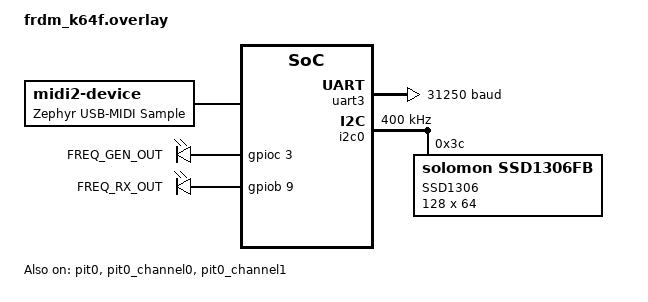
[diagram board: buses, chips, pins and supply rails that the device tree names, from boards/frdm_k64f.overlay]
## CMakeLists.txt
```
# @file CMakeLists.txt for MIDI1.0 driver app 
#
# @author Jan-Willem Smaal <usenet@gispen.org> 
# @date 20260119 
# SPDX-License-Identifier: Apache-2.0
cmake_minimum_required(VERSION 3.20.0)
find_package(Zephyr REQUIRED HINTS $ENV{ZEPHYR_BASE})
project(midi1_serial)

# for the USB MIDI sources
include(common/common.cmake)

# Application logic 
FILE(GLOB app_sources src/*.c)

# Hardware and driver logic 
FILE(GLOB driver_sources drivers/*.c)

target_include_directories(app PRIVATE
	drivers
)

target_sources(app PRIVATE 
	${app_sources}
	${driver_sources}
)
```

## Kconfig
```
# Copyright (c) 2024 Titouan Christophe
# SPDX-License-Identifier: Apache-2.0

# Source common USB sample options used to initialize new experimental USB
# device stack. The scope of these options is limited to USB samples in project
# tree, you cannot use them in your own application.
#source "common/Kconfig.sample_usbd"

source "Kconfig.zephyr"
# Copyright (c) 2023 Nordic Semiconductor ASA
# SPDX-License-Identifier: Apache-2.0

# This file contains Kconfig options and defaults for configuring USB devices
# using the new experimental USB device support. The scope of these options is
# limited to USB samples in project tree, you cannot use them in your own
# application.

menu "USB sample options"
	depends on USB_DEVICE_STACK_NEXT

config SAMPLE_USBD_MANUFACTURER
	string "USB device sample manufacturer string"
	default "Jan-Willem Smaal"
	help
	  USB device sample manufacturer string.

config SAMPLE_USBD_PRODUCT
	string "USB device sample product string"
	default "USBD"
	help
	  USB device sample product stringa.

config SAMPLE_USBD_PID
	hex "USB device sample Product ID"
	default 0x0011
	help
	  USB device sample Product ID.

config SAMPLE_USBD_SELF_POWERED
	bool "USB device sample Self-powered attribute"
	default y
	help
	  Set the Self-powered attribute in the sample configuration.

config SAMPLE_USBD_REMOTE_WAKEUP
	bool "USB device sample Remote Wakeup attribute"
	help
	  Set the Remote Wakeup attribute in the sample configuration.

config SAMPLE_USBD_MAX_POWER
	int "USB device sample bMaxPower value"
	default 125
	range 0 250
	help
	  bMaxPower value in the sample configuration in 2 mA units.

config SAMPLE_USBD_20_EXTENSION_DESC
	bool "Use default USB 2.0 Extension Descriptor"
	depends on USBD_BOS_SUPPORT
	help
	  Set bcdUSB value to 0201 and use default USB 2.0 Extension Descriptor.

endmenu
```

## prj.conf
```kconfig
##########################################################################
# @file prj.conf
# @brief Various MIDI protocol test with the Zephyr SDK
# @note
# adding in some MIDI1 legacy DIN5 serial.  
#
# Code is based on the original midi-usb sample
#
# @author Jan-Willem Smaal <usenet@gispen.org
# @date 20251220
##########################################################################
CONFIG_INPUT=n
CONFIG_LOG=n
#CONFIG_LOG_DEFAULT_LEVEL=2


##########################################################################
# Tune these settings to reduce the RAM footprint
##########################################################################
CONFIG_IDLE_STACK_SIZE=128
CONFIG_ISR_STACK_SIZE=1024
# Note this one is under the display and cannot be reduced 
#CONFIG_HEAP_MEM_POOL_SIZE=1536


# Let's disable the boot banner because 
# on the FRDM_MCXC242 overlay we use it will go out 
# the MIDI port...  
CONFIG_BOOT_BANNER=n

# Serial port support with IRQ on RX.
CONFIG_SERIAL=y
CONFIG_UART_INTERRUPT_DRIVEN=y
# Our customer MIDI1 serial driver
CONFIG_MIDI1_SERIAL=y

##########################################################################
# Sensors (maybe later) 
##########################################################################
CONFIG_SENSOR=n
CONFIG_SENSOR_SHELL=n
CONFIG_SENSOR_INFO=n
#CONFIG_VL53L0X_PROXIMITY_THRESHOLD=100
CONFIG_SHT4X=n
CONFIG_FXOS8700=n

##########################################################################
# Counters (required) 
##########################################################################
CONFIG_COUNTER=y
# For the FRDM_MCXC242 and FRDM_K64F 
CONFIG_COUNTER_NXP_PIT=y
# For the FRDM_MCXA156 board.
CONFIG_COUNTER_MCUX_CTIMER=y 


# GPIO (used for the scope measurements) 
CONFIG_GPIO=y

# Math stuff, try to leave it out because it doesn't fit in the RAM. 
CONFIG_NEWLIB_LIBC=n
CONFIG_NEWLIB_LIBC_FLOAT_PRINTF=n
CONFIG_NEWLIB_LIBC_FLOAT_SCANF=n

##########################################################################
# Configure I2C displays 
##########################################################################
CONFIG_DISPLAY=y
# For the board FRDM_MCXC242 I use this display SSD1306 
CONFIG_SSD1306=y
# If we use the board FRDM_MCXA156 we use a SSD1331
CONFIG_SSD1331=n
CONFIG_DISPLAY_LOG_LEVEL_DBG=y


# Enable Character Framebuffer (text rendering)
# on the FRDM_MCXC242 this will work with the SDD1306 display 
CONFIG_HEAP_MEM_POOL_SIZE=1280  

# trying with the FRDM_MCXA156 we use the SDD1331 display 
# this board has more RAM so let's assign a bit more. 
#CONFIG_HEAP_MEM_POOL_SIZE=2280  

CONFIG_CHARACTER_FRAMEBUFFER=y
CONFIG_CHARACTER_FRAMEBUFFER_USE_DEFAULT_FONTS=y


##########################################################################
# USBD MIDI2.0 device support
##########################################################################
CONFIG_USB_DEVICE_STACK_NEXT=y
CONFIG_CDC_ACM_SERIAL_INITIALIZE_AT_BOOT=n
CONFIG_USBD_MIDI2_CLASS=y
CONFIG_SAMPLE_USBD_PRODUCT="USB MIDI2.0 J-W Smaal"
CONFIG_SAMPLE_USBD_PID=0x0011
CONFIG_USBD_LOG_LEVEL_WRN=n
CONFIG_UDC_DRIVER_LOG_LEVEL_WRN=n
CONFIG_MIDI2_UMP_STREAM_RESPONDER=y

# EOF 
```

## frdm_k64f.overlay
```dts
/*
 * Overlay for FRDM-K64F with 
 * MIDI (USART) board.  
 * 
 * Original: 
 * Copyright (c) 2024 Titouan Christophe
 *
 * SPDX-License-Identifier: Apache-2.0
 */
&uart3 {
    status = "okay";
    /* Set it to the MIDI baud rate */
    current-speed = <31250>;
};


/ {
	usb_midi: usb_midi {
		compatible = "zephyr,midi2-device";
		status = "okay";
		label = "Zephyr USB-MIDI Sample";

		midi_in_out@0 {
			reg = <0 1>;
			protocol = "midi1-up-to-128b";
			label = "MIDI-IN-OUT";
		};
	};
    aliases {
        i2c0 = &i2c0;
		/* This is the serial USART midi */ 
        midi = &uart3;
    };
};
```

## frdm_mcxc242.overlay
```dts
/*
 * Test with the FRDM-MCXW242 board and the VL53L0X sensor
 * Overlay provided by Jan-Willem Smaal on 20250101
 */

&pit0 {
	status = "okay";
};

&i2c1 {
 	status = "okay";
	vl53l0x@29 {
		compatible = "st,vl53l0x";
		reg = <0x29>;
	};
};

/ {
	usb_midi: usb_midi {
		compatible = "zephyr,midi2-device";
		status = "okay";
		#address-cells = <1>;
		#size-cells = <1>;
		label = "Zephyr USB-MIDI Sample";

		midi_in_out@0 {
			reg = <0 1>;
			protocol = "midi1-up-to-128b";
			label = "MIDI-IN-OUT";
		};
	};
};
```

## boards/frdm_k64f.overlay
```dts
/**
 * @file frdm_k64f.overlay
 * @brief overlay for this (older) NXP board
 * @note
 * it is using a MIDI arduino shield but I disconnected
 * the 5V and connected it to 3.3V instead to protect the MCU inputs.
 * I should lower the output and input from 220R resistors to 33R but it
 * seems to "work" on some interfaces without that in some shape or form.
 *
 * @author Jan-Willem Smaal <usenet@gispen.org>
 * @date 20260102
 * SPDX-License-Identifier: Apache-2.0
 */

/*
 * Classic MIDI1.0 over DIN5 plug
 */
&uart3 {
    status = "okay";
    /* Set it to the MIDI baud rate */
    current-speed = <31250>;
};

/* 
 * Because on the FRDM_K64F each channel has it's own IRQ we need to be 
 * specific here can't just enable pit0 and hope for the best. 
 */ 
&pit0 {
    status = "okay";
};

&pit0_channel0 {
    status = "okay";
};

&pit0_channel1 {
    status = "okay";
};

/*
 * Enable these GPIO's' for the scope outputs I use this to
 * measure the clock sync on ingress and egress.
 */
&gpiob {
    status = "okay";
};

&gpioc {
    status = "okay";
};

&i2c0 {
	status = "okay";
	clock-frequency = <I2C_BITRATE_FAST>;

	ssd1306: ssd1306@3c {
		status = "okay";
		compatible = "solomon,ssd1306fb";
		reg = <0x3c>;
		label = "SSD1306";
		width = <128>;
		height = <64>;
		segment-offset = <0>; 
		page-offset = <0>;
		display-offset = <0>;
		multiplex-ratio = <63>;
		/* Had to enable this to mirror the image */ 
		com-invdir;
		/* prechargep = <0x22>; */
		/* Used for the SH1106 */
		/* prechargep = <0x1F>; */
		/* Used for the SSD1306 */
		prechargep = <0xF1>;
		/* The next one was required to flip the image */
		segment-remap;
	        inversion-on;
	        /* Critical part on the SSD1306 don't make this too long */
	        ready-time-ms = <100>;
	};
};



/ {
	usb_midi: usb_midi {
		compatible = "zephyr,midi2-device";
		status = "okay";
		#address-cells = <1>;
		#size-cells = <1>;
		label = "Zephyr USB-MIDI Sample";

		midi_in_out@0 {
			reg = <0 1>;
			protocol = "midi1-up-to-128b";
			label = "MIDI-IN-OUT";
		};
	};
	leds {
		compatible = "gpio-leds";
		/* Everytime a 0xF8 is sent we toggle pin PTC3  */
		freq_out: freq_out {
			gpios = <&gpioc 3 GPIO_ACTIVE_HIGH>;
			label = "FREQ_GEN_OUT";
		};
		/* Everytime a 0xF8 is received we toggle pin PTB9  */
		rx_midi_clk: rx_midi_clk{
			gpios = <&gpiob 9 GPIO_ACTIVE_HIGH>;
			label = "FREQ_RX_OUT";
		};
	};
    aliases {
        i2c0 = &i2c0;
        midi = &uart3;
	counterch0 = &pit0_channel0;
	counterch1 = &pit0_channel1;
    };
    chosen {
	zephyr,display = &ssd1306;
    };
};


/* EOF */
```

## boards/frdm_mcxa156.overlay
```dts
/**
 * @file frdm_k64f.overlay
 * @brief overlay for this board from 2024
 * @note
 *
 * Using the MCXA156 the mikroBUS socket is used for lpuart1.
 *
 * @author Jan-Willem Smaal <usenet@gispen.org>
 * @date 20260102
 * SPDX-License-Identifier: Apache-2.0
 */
&gpio3 {
	status ="okay"; 
};

/* Enable SPI on mikroBUS */
&lpspi0 {
    status = "okay";
    pinctrl-0 = <&pinmux_lpspi0>;
    pinctrl-names = "default";
};


/*
 * Classic MIDI1.0 over DIN5 plug.
 * note on the FRDM-MCXC242 the LPUART0 is shared with the MCU_LINK.
 * so be aware!   If you send printk's you need to set the baud rate
 * to 31250 from the default 115200 to see something usefull
 *
 * Also note anything you send out to the MCU_LINK will end up on the MIDI
 * port!
 *
 */
/* On the MCXA156 the mikroBUS socket J1 is on LPUART1 */
&lpuart1 {
	status = "okay";
	/* Set it to the MIDI baud rate */
	current-speed = <31250>;
};

/* We are using the periodic interrupt timer  (PIT) so switch it on */
/* DOES NOT EXIST on this board */
/*
&pit0 {
	status = "okay";
};
*/

/* Let's make sure both are enabled and act in the same way as the pit0 */
&ctimer0 {
	status = "okay";
	/* Divide 96 MHz by 4 → 24 MHz timer */
	prescale = <3>;
};
&ctimer1 {
	status = "okay";
	/* Divide 96 MHz by 4 → 24 MHz timer */
	prescale = <3>;
};

/*****************************************************************************/

/ {
	chosen {
		zephyr,display = &sdd1331_mikrobus;
};
	usb_midi: usb_midi {
		compatible = "zephyr,midi2-device";
		status = "okay";
		#address-cells = <1>;
		#size-cells = <1>;
		label = "Zephyr USB-MIDI";

		midi_in_out@0 {
			reg = <0 1>;
			protocol = "midi1-up-to-128b";
			label = "MIDI-IN-OUT";
		};
	};
	leds {
		/* Need to check pin numbers  !!! */
		compatible = "gpio-leds";
		/* Everytime a 0xF8 is sent we toggle pin C8  */
		freq_out: freq_out {
			/* gpios = <&gpioc 8 GPIO_ACTIVE_HIGH>; */
			gpios = <&gpio3 1 GPIO_ACTIVE_HIGH>;
			label = "FREQ_GEN_OUT";
		};
		/* Everytime a 0xF8 is received we toggle pin A12  */
		rx_midi_clk: rx_midi_clk{
			/* gpios = <&gpioa 12 GPIO_ACTIVE_HIGH>; */
			gpios = <&gpio3 31 GPIO_ACTIVE_HIGH>;
			label = "FREQ_RX_OUT";
		};
	};
	aliases {
		midi = &lpuart1;
		counterch0 = &ctimer0;
		counterch1 = &ctimer1;
	};
	
	/* The Display */
	mipi_dbi_sdd1331_mikrobus {
		status = "okay";
		compatible = "zephyr,mipi-dbi-spi";
		spi-dev = <&lpspi0>;
		write-only;
		#address-cells = <1>;
		#size-cells = <0>;

		/* mikroBUS GPIOs used for SPI */
		/* mikroBUS INT (pin 8) */
		dc-gpios = <&gpio3 19 GPIO_ACTIVE_HIGH>;
		/* mikroBUS RST (pin 6) */
		reset-gpios = <&gpio3 29 GPIO_ACTIVE_LOW>;

		/* Display selected via mikroBUS default CS  */
		sdd1331_mikrobus: sd1331@0 {
			status = "okay";
			compatible = "solomon,ssd1331";
			reg = <0>;
			mipi-max-frequency = <8000000>;
			width = <96>;
			height = <64>;
			mipi-mode = "MIPI_DBI_MODE_SPI_4WIRE";
			/* Default: 0 (no vertical shift) */
			display-offset = <0>;
			/* Default: 0 (start at first RAM line) */
			start-line = <0>;
			/* Default: height - 1 → 64 - 1 = 63 */
			multiplex-ratio = <63>;
			/* Default: Phase1=1, Phase2=3 → 0x31 */
			phase-length = <0x31>;
			/* Default: highest internal oscillator */
			oscillator-freq = <0xF0>;
			/* Default: 100 clocks */
			precharge-time-a = <0x64>;
			/* Default: 120 clocks */
			precharge-time-b = <0x78>;
			 /* Default: 100 clocks */
			precharge-time-c = <0x64>;
			/* Default: 0x3A (recommended) */
			precharge-voltage = <0x3A>;
			/* Default: 0x3E (recommended) */
			vcomh-voltage = <0x3E>;
			/* Default: max master current */
			current-att = <0x0F>;
			 /* Default: RGB565, normal scan, COM split */
			remap-value = <0x72>;
		};
	};
};
```

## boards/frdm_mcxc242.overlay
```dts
/*
 * @brief FRDM-MCXW242 board configuration for the MIDI clock
 * @note
 * it is using a MIDI arduino shield but I disconnected
 * the 5V and connected it to 3.3V instead to protect the MCU inputs.
 * I should lower the output and input from 220R resistors to 33R but it
 * seems to "work" on some interfaces without that in some shape or form.
 *
 * @author Jan-Willem Smaal
 * @date 20250101
 * SPDX-License-Identifier: Apache-2.0
 */
 
/*
 * Classic MIDI1.0 over DIN5 plug.
 * note on the FRDM-MCXC242 the LPUART0 is shared with the MCU_LINK.
 * so be aware!   If you send printk's you need to set the baud rate
 * to 31250 from the default 115200 to see something usefull
 *
 * Also note anything you send out to the MCU_LINK will end up on the MIDI
 * port!
 *
 */
&lpuart0 {
	status = "okay";
	/* Set it to the MIDI baud rate */
	current-speed = <31250>;
};

/* This one is on the MIKRObus and is not shared with the MCU_LINK. */
&lpuart1 {
	status = "okay";
	/* Set it to the MIDI baud rate */
	current-speed = <31250>;
};

&pinctrl {
	pinmux_lpuart0: pinmux_lpuart0 {
		group0 {
			/* Strongest drive + fast edges */
			drive-strength = "high";
			slew-rate = "fast";
		};
	};
	pinmux_lpuart1: pinmux_lpuart1 {
		group0 {
			/* Strongest drive + fast edges */
			drive-strength = "high";
			slew-rate = "fast";
		};
	};
};

/* We are using the periodic interrupt timer  (PIT) so switch it on */
&pit0 {
	status = "okay";
};

/*
 * Enable these GPIO's' for the scope outputs I use this to
 * measure the clock sync on ingress and egress.
 */
&gpioa {
	status = "okay";
};

&gpioc {
	status = "okay";
};

/*
 * i2c0 does not work due to missing pin control.  i2c1 is the the Arduino
 * header
 */
&i2c1 {
	status = "okay";
	clock-frequency = <I2C_BITRATE_FAST>;

	ssd1306: ssd1306@3c {
		status = "okay";
		compatible = "solomon,ssd1306fb";
		reg = <0x3c>;
		label = "SSD1306";
		width = <128>;
		height = <64>;
		segment-offset = <0>; 
		page-offset = <0>;
		display-offset = <0>;
		multiplex-ratio = <63>;
		/* Had to enable this to mirror the image */ 
		com-invdir;
		/* prechargep = <0x22>; */
		/* Used for the SH1106 */
		/* prechargep = <0x1F>; */
		/* Used for the SSD1306 */
		prechargep = <0xF1>;
		/* The next one was required to flip the image */
		segment-remap;
	        inversion-on;
	        /* Critical part on the SSD1306 don't make this too long */
	        ready-time-ms = <100>;
	};
};

/* ---------------------------------------------------------------- */

/ {
	midi0: midi0 {
		status = "okay";
		compatible = "midi1_serial";
		uart = <&lpuart0>;
	};
	midi1: midi1 {
		status = "okay";
		compatible = "midi1_serial";
		uart = <&lpuart1>;
	};
	usb_midi: usb_midi {
		compatible = "zephyr,midi2-device";
		status = "okay";
		#address-cells = <1>;
		#size-cells = <1>;
		label = "Zephyr USB-MIDI";

		midi_in_out@0 {
			reg = <0 1>;
			protocol = "midi1-up-to-128b";
			label = "MIDI-IN-OUT";
		};
	};
	leds {
		compatible = "gpio-leds";
		/* Everytime a 0xF8 is sent we toggle pin C8  */
		freq_out: freq_out {
			gpios = <&gpioc 8 GPIO_ACTIVE_HIGH>;
			label = "FREQ_GEN_OUT";
		};
		/* Everytime a 0xF8 is received we toggle pin A12  */
		rx_midi_clk: rx_midi_clk{
			gpios = <&gpioa 12 GPIO_ACTIVE_HIGH>;
			label = "FREQ_RX_OUT";
		};
	};
	aliases {
		midi = &lpuart0;
		counterch0 = &pit0_channel0;
		counterch1 = &pit0_channel1;
	};
	chosen {
                zephyr,display = &ssd1306; 
        };
};
```

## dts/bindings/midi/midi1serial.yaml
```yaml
description: MIDI1 UART-based MIDI driver
compatible: "midi1serial"

properties:
  uart:
    type: phandle
    required: true
    description: UART device used for MIDI I/O
```

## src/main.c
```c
/**
 * @brief MIDI 1.0 into Universal MIDI Packet over USB by J-W Smaal
 * to send MIDI1.0 encapsulated into UMP over USB. Doing various things
 * such as measure MIDI clock.
 * generate a stable MIDI clock send some control changes etc...
 *
 * @author Jan-Willem Smaal <usenet@gispen.org>
 * @date 20260107
 *
 * ---
 * Adapted Original: Sample application for USB MIDI 2.0 device class
 * @author Copyright (c) 2024 Titouan Christophe
 *
 * license SPDX-License-Identifier: Apache-2.0
 */
#include <stdio.h>
#include <zephyr/device.h>
#include <zephyr/drivers/gpio.h>
#include <zephyr/input/input.h>
#include <zephyr/kernel.h>
#include <zephyr/devicetree.h>
#include <zephyr/drivers/display.h>
#include <zephyr/display/cfb.h>
#include <zephyr/sys/printk.h>

/*
 * This is part of the MIDI2 library prj.conf
 * CONFIG_MIDI2_UMP_STREAM_RESPONDER=y
 * /zephyr/lib/midi2/ump_stream_responder.h
 * it gets linked in and is required for the USB MIDI support.
 */
#include <sample_usbd.h>
#include <zephyr/usb/class/usbd_midi2.h>
#include <ump_stream_responder.h>

/*
 * Collection of various functions for MIDI1
 * by Jan-Willem Smaal <usenet@gispen.org>
 */
/* Moved to ../drivers */
#include "midi1.h"
#include "midi1_serial.h"

#include "midi1_clock_counter.h"
/* #include "midi1_clock_adj.h" */
/* #include "midi1_clock_measure.h" */
#include "midi1_clock_measure_counter.h"
#include "midi1_clock_pll_ticks.h"

/* ------------------------------------------------------------------------- */

/*
 * Required device tree entries
 * - 'rx_midi_clk'
 * - 'freq_out'
 * - 'usb_midi'
 * - 'midi' == UART
 * - 'pit0_channel0'
 * - 'pit0_channel1'
 */

/* For debugging provide the received 24pqn MIDI clock on a pin */
#define RX_MIDI_CLOCK_ON_PIN 1
#if RX_MIDI_CLOCK_ON_PIN
#define RX_MIDI_CLK DT_NODELABEL(rx_midi_clk)
static const struct gpio_dt_spec rx_midi_clk_pin =
GPIO_DT_SPEC_GET(RX_MIDI_CLK, gpios);

static void main_rx_midi_clk_gpio_init(void)
{
	int ret = gpio_pin_configure_dt(&rx_midi_clk_pin, GPIO_OUTPUT_INACTIVE);
	if (ret < 0) {
		//LOG_ERR("Unable to configure pin");
		return;
	}
}
#endif

#define USB_MIDI_DT_NODE DT_NODELABEL(usb_midi)
static const struct device *const midi = DEVICE_DT_GET(USB_MIDI_DT_NODE);

/* LED's */
static struct gpio_dt_spec led0 = GPIO_DT_SPEC_GET(DT_ALIAS(led0), gpios);
static struct gpio_dt_spec led2 = GPIO_DT_SPEC_GET(DT_ALIAS(led2), gpios);

/* ----------------------- handlers callbacks  ----------------------------- */
static void key_press(struct input_event *evt, void *user_data)
{
	/* Only handle key presses in the 7bit MIDI range */
	if (evt->type != INPUT_EV_KEY || evt->code > 0x7f) {
		return;
	}
	uint8_t command = evt->value ? UMP_MIDI_NOTE_ON : UMP_MIDI_NOTE_OFF;
	uint8_t channel = 0;
	uint8_t note = evt->code;
	uint8_t velocity = 100;

	struct midi_ump ump = UMP_MIDI1_CHANNEL_VOICE(0, command, channel,
	                                              note, velocity);
	usbd_midi_send(midi, ump);
}

INPUT_CALLBACK_DEFINE(NULL, key_press, NULL);

static const struct ump_endpoint_dt_spec ump_ep_dt =
UMP_ENDPOINT_DT_SPEC_GET(USB_MIDI_DT_NODE);

const struct ump_stream_responder_cfg responder_cfg =
UMP_STREAM_RESPONDER(midi, usbd_midi_send, &ump_ep_dt);

/* TODO: handler for timing purposes we'll ignore other stuff for now */
static void on_ump_packet(const struct device *dev, const struct midi_ump ump)
{
	switch (UMP_MT(ump)) {
	case UMP_MT_SYS_RT_COMMON:
		uint8_t status = UMP_MIDI_STATUS(ump);
		switch (status) {
		case RT_TIMING_CLOCK:  /* MIDI Clock */
#if RX_MIDI_CLOCK_ON_PIN
			/*
			 * toggle a PIN so we can measure
			 * on the scope the incoming clock.
			 */
			gpio_pin_toggle_dt(&rx_midi_clk_pin);
#endif
			midi1_clock_meas_cntr_pulse();
			midi1_pll_ticks_process_interval
			    (midi1_clock_meas_cntr_interval_ticks());
			break;
		default:
			break;
		}
	default:
		break;
	}
}

/**
 * @brief Light up the LED (if any) when USB-MIDI2.0 is active towards the PC
 */
static void on_device_ready(const struct device *dev, const bool ready)
{

	if (led0.port) {
		gpio_pin_set_dt(&led0, ready);
		k_msleep(100);
		gpio_pin_toggle_dt(&led0);
		k_msleep(100);
		gpio_pin_toggle_dt(&led0);
		k_msleep(100);
		gpio_pin_toggle_dt(&led0);
	}
}

/* rx callback struct for the clock tests we use 'on_ump_packet' */
static const struct usbd_midi_ops ump_ops = {
	.rx_packet_cb = on_ump_packet,
	.ready_cb = on_device_ready,
};

/**
 * @brief Callbacks/delegates for 'midi1_serial.c' after parsing MIDI1.0
 *
 * @note
 * Do not block in these function as they are called from the MIDI
 * parser this one is blocked untill the delegate is finished.
 */
void note_on_handler(uint8_t channel, uint8_t note, uint8_t velocity)
{
	printk("Note  on: %03d %03d\n", note, velocity);
}

void note_off_handler(uint8_t channel, uint8_t note, uint8_t velocity)
{
	printk("Note off: %03d %03d\n", note, velocity);
}

void pitchwheel_handler(uint8_t channel, uint8_t lsb, uint8_t msb)
{
	/* 14 bit value for the pitch wheel  */
	int16_t pwheel = (int16_t) ((msb << 7) | lsb) - PITCHWHEEL_CENTER;
	/* print on the serial out */
	printk("Pitchwheel: %d\n", pwheel);
}

void control_change_handler_model(uint8_t channel,
                                  uint8_t controller, uint8_t value)
{
	printk("CC: %d %d\n", controller, value);
}

void control_change_handler(uint8_t channel, uint8_t controller, uint8_t value)
{
	printk("CC: %d %d\n", controller, value);
}

void realtime_handler(uint8_t msg)
{
	printk("Realtime: %d\n", msg);
}

void sysex_start_handler(void)
{
	printk("sysex_start_handler()\n");
}

void sysex_data_handler(uint8_t data)
{
	printk("%x ", data);
}

void sysex_stop_handler(void)
{
	printk("\nsysex_stop_handler()\n");
}

/*
 * Init all the MIDI stuff (USB + DIN MIDI)
 */
const struct device *midi0 = DEVICE_DT_GET(DT_NODELABEL(midi0));

int main_midi1_init()
{
	struct usbd_context *sample_usbd;

	if (led0.port && led2.port) {
		if (gpio_pin_configure_dt(&led0, GPIO_OUTPUT)) {
			//LOG_ERR("Unable to setup LED0, not using it");
			memset(&led0, 0, sizeof(led0));
		}
		if (gpio_pin_configure_dt(&led2, GPIO_OUTPUT)) {
			//LOG_ERR("Unable to setup LED2, not using it");
			memset(&led2, 0, sizeof(led2));
		}
	}
	if (!device_is_ready(midi0)) {
		printk("Serial MIDI1 device not ready\n");
		return 0;
	}

#if RX_MIDI_CLOCK_ON_PIN
	main_rx_midi_clk_gpio_init();
#endif
	if (!device_is_ready(midi)) {
		//LOG_ERR("MIDI device not ready");
		return -1;
	}
	usbd_midi_set_ops(midi, &ump_ops);
	sample_usbd = sample_usbd_init_device(NULL);
	if (sample_usbd == NULL) {
		//LOG_ERR("Failed to initialize USB device");
		return -1;
	}
	if (usbd_enable(sample_usbd)) {
		//LOG_ERR("Failed to enable device support");
		return -1;
	}
	//LOG_INF("USB device support enabled");

	/* Init the clock measurement system */
	midi1_clock_cntr_init(midi);
	midi1_clock_meas_cntr_init();

	/* We init the PLL with something and adjust from there */
	midi1_pll_ticks_init(12000, midi1_clock_meas_cntr_clock_freq());

	return 0;
}

/* Get the display device (DTS node must be named sh1106) */
/* const struct device *display = DEVICE_DT_GET(DT_NODELABEL(sh1106)); */
const struct device *display = DEVICE_DT_GET(DT_CHOSEN(zephyr_display));
/* in the root of the device tree we need to point it to the sh1106 */
const struct device *cfb = DEVICE_DT_GET(DT_CHOSEN(zephyr_display));

int main_display_init(void)
{
	//LOG_INF("SH1106 display init \n");
	if (!device_is_ready(display)) {
		printk("Display not ready\n");
		return -1;
	}

	if (!device_is_ready(cfb)) {
		printk("CFB not ready\n");
		return -1;
	}

	/* Turn on the panel */
	display_blanking_off(display);

	/* Initialize the character framebuffer */
	if (cfb_framebuffer_init(cfb)) {
		printk("CFB init failed\n");
		return -1;
	}

	/* Clear the framebuffer */
	cfb_framebuffer_clear(cfb, true);

	/* Select font index 0 (usually 8x8) */
	cfb_framebuffer_set_font(cfb, 0);

	/* Print default text */
	cfb_print(cfb, "MIDIsync JWS", 0, 0);
	cfb_print(cfb, "xxx.xx BPM  ", 0, 16);
	cfb_print(cfb, "xxx.xx PLL  ", 0, 32);
	cfb_print(cfb, "            ", 0, 48);

	/* Push framebuffer to display */
	cfb_framebuffer_invert(cfb);
	cfb_framebuffer_finalize(cfb);

	k_msleep(100);

	return 0;
}

/* ---------------------------- THREADS ------------------------------------ */
/*
 * MIDI1.0 5PIN DIN serial receive parser thread.
 */
void midi1_serial_receive_thread(void)
{
	if (!device_is_ready(midi0)) {
		printk("receive_thread Serial MIDI1 device not ready\n");
		return;
	}
	/* You can either use the pointer to the API or the public interface */
	const struct midi1_serial_api *mid = midi0->api;
	
	/*
	 * Set the callbacks in the driver to our own callbacks.  Pointers
	 * left null are not used in the callbacks.
	 * e.g. right now the aftertouch is not handled.
	 */
	struct midi1_serial_callbacks my_cb = {
		.note_on = note_on_handler,
		.note_off = note_off_handler,
		.control_change = control_change_handler,
		.pitchwheel = pitchwheel_handler,
		.sysex_start = sysex_start_handler,
		.sysex_data = sysex_data_handler,
		.sysex_stop = sysex_stop_handler
	};
	mid->register_callbacks(midi0, &my_cb);

	/* Let's wait a little untill things are settled after bootup */
	k_msleep(100);
	while (1) {
		/* As this call is blocking no need to sleep in between */
		mid->receiveparser(midi0);
	}
}

K_THREAD_DEFINE(midi1_serial_receive_tid, 512,
                midi1_serial_receive_thread, NULL, NULL, NULL, 5, 0, 0);

/**
 * @brief helper function to print the scaled BPM to the display
 * @param sbpm scaled bpm parameter
 * TODO: check return values
 */
void display_update_bpm_line(uint16_t sbpm, uint16_t sbpm2)
{

	cfb_print(cfb, sbpm_to_str(sbpm), 0, 16);
	cfb_print(cfb, sbpm_to_str(sbpm2), 0, 32);
	cfb_framebuffer_finalize(cfb);
	return;
}

/*
 * This blinks LED2 (blue) in the interval received via MIDI-USB on
 * every quater note. It also shows a spinner in the display and updates
 * the measured BPM.
 */
void led_display_thread(void)
{
	if (!device_is_ready(led2.port)) {
		//printk("LED device not ready\n");
		return;
	}

	gpio_pin_configure_dt(&led2, GPIO_OUTPUT_INACTIVE);
	gpio_pin_toggle_dt(&led2);
	int spinner = 0;

	while (1) {
		/* Get current PLL tick interval (1/24 QN) */
		int32_t tick_us = midi1_clock_meas_cntr_interval_us();

		/* Convert to quarter-note interval so multiply by 24 */
		int32_t qn_us = abs(tick_us * 24u);

		/* Toggle LED */
		gpio_pin_toggle_dt(&led2);

		/* if the qn_us makes somewhat sense */
		if (qn_us < 2500000) {
			/* Get the BPM measurement (also PLL) */
			uint16_t cntr_sbpm = midi1_clock_meas_cntr_get_sbpm();
			uint16_t pll_sbpm =
			    pqn24_to_sbpm(midi1_pll_ticks_get_interval_us());
			/* Show it on the tiny display */
			display_update_bpm_line(cntr_sbpm, pll_sbpm);

			/* In the sync with the clock rotate the spinner */
			switch (spinner) {
			case 0:
				cfb_print(cfb, "/", 0, 48);
				spinner++;
				break;
			case 1:
				cfb_print(cfb, "-", 0, 48);
				spinner++;
				break;
			case 2:
				cfb_print(cfb, "\\", 0, 48);
				spinner++;
				break;
			case 3:
				cfb_print(cfb, "|", 0, 48);
				spinner = 0;
				break;
			default:
				spinner = 0;
				break;
			}
			cfb_framebuffer_finalize(cfb);
			/* Sleep for 1/2  quarter note */
			k_usleep(qn_us / 2);
		} else {
			/*
			 * if we get strange large values for
			 * qn_us > 2.5 seconds (1 BPM) just ignore it.
			 */
			k_msleep(2000);

			/* printk("led_blink_thread: Large value qn_us: %d\n",
			   qn_us); */
			continue;
		}
	}
}

K_THREAD_DEFINE(led_display_tid, 512,
                led_display_thread, NULL, NULL, NULL, 5, 0, 0);

/**
 * Main thread - this may actually terminate normally (code 0) in zephyr.
 * and the rest of threads keeps running just fine.
 */
int main(void)
{
	/* Init the USB MIDI and the rest of the MIDI processes */
	if (main_midi1_init()) {
		printk("Failed to main_midi1_init()\n");
		return -1;
	}
	/* You can either use the pointer to the API or the public interface */
	const struct midi1_serial_api *mid = midi0->api;
	
	/* Sleep for 3 seconds so we can get some measurements intervals */
	k_msleep(3000);
	printk("MIDI1.0 clock and parser ready\n");
	//printk("midi1_clock_cntr_get_sbpm: %s\n",
	//       sbpm_to_str(midi1_clock_cntr_get_sbpm()));
	printk("midi1_clock_cntr_cpu_frequency: %u\n",
	       midi1_clock_cntr_cpu_frequency());

	/* Set the initial clock again because the PLL gets a init of 120 */
	uint32_t pll_ticks = midi1_pll_ticks_get_interval_ticks();
	midi1_clock_cntr_ticks_start(pll_ticks);

	/*
	 * Don't start the display straight after powerup (needs some time
	 * to settle
	 */
	main_display_init();
	/*  FIXME: for some reason returns failure.
	   if(main_display_init()) {
	   printk("Failed to main_display_init()\n");
	   }
	 */
	


	while (1) {
		/*  measure incoming interval. */
		//printk("interval measured as: %u us\n",
		//       midi1_clock_meas_cntr_interval_us());
		//printk("interval measured as: %u ticks\n",
		//       midi1_clock_meas_cntr_interval_ticks());

		uint16_t raw_cntr_sbpm = midi1_clock_meas_cntr_get_sbpm();
		//printk("main cntr BPM (raw): %s\n", sbpm_to_str(raw_cntr_sbpm));

		/* Get pll ticks */
		uint32_t pll_ticks = midi1_pll_ticks_get_interval_ticks();
		//printk("main: PLL ticks     : %d\n", pll_ticks);

		/* Half a minute of correct phase */
		for (int i = 0; i < 3; i++) {

			//printk("main: -- in PHASE -- \n");
			/* Start the clock with the correct ticks */
			uint32_t pll_ticks =
			    midi1_pll_ticks_get_interval_ticks();
			midi1_clock_cntr_ticks_start(pll_ticks);
			k_msleep(10000);
			//midi1_serial_start(&g_inst_uart3);
		}
#if MAIN_CLOCK_SHIFTING
		/* shifting phase */
		for (int phases = 5000; phases <= 50000; phases += 2000) {
			printk("main: shifting phase: %u\n", phases);
			/* Start the clock with the phase shifted ticks */
			uint32_t pll_ticks =
			    midi1_pll_ticks_get_interval_ticks();
			midi1_clock_cntr_ticks_start(pll_ticks - phases);
			k_msleep(5000);
		}
#endif
		/* Send some test notes on the MIDI1.0  DIN port */
		for (int i = 60; i < 80; i++ ) {
			mid->note_on(midi0, CH12, i, 100);
			k_msleep(100);
		}
		k_msleep(1000);
		/* Turn them off all at once. */
		for (int i = 60; i < 80; i++ ) {
			mid->note_off(midi0, CH12, i, 100);
		}
	}

	return 0;
}

/* EOF */
```

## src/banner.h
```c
static const char banner[] =
" __  __ _____ _____ _____                               ___   _____ \n"
"|  \\/  |_   _|  __ \\_   _|                             / _ \\ | ____|\n"
"| \\  / | | | | |  | || |  ___ _   _ _ __   ___  __   _| | | || |__  \n"
"| |\\/| | | | | |  | || | / __| | | | '_ \\ / __| \\ \\ / / | | ||___ \\ \n"
"| |  | |_| |_| |__| || |_\\__ \\ |_| | | | | (__   \\ V /| |_| | ___) |\n"
"|_|  |_|_____|_____/_____|___/\\__, |_| |_|\\___|   \\_/  \\___(_)____/ \n"
"                               __/ |                                \n"
"                              |___/                                 \n"
;
```

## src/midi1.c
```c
/**
 * @file midi1.c
 *
 * Created in 2014 ported to Zephyr RTOS in 2024. 
 * @author Jan-Willem Smaal <usenet@gispen.org> 
 * @updated 20241224
 * license SPDX-License-Identifier: Apache-2.0
 */
#include <stdio.h>
#include <zephyr/audio/midi.h>
#include "midi1.h"

/**
 * -- == Channel messages == --
 * no need to check range of the parameters as we mask them with 'MIDI_DATA'
 */
struct midi_ump midi1_note_on(uint8_t channel, uint8_t key, uint8_t velocity)
{
	return UMP_MIDI1_CHANNEL_VOICE(UMP_CHANNEL_GROUP,
				       UMP_MIDI_NOTE_ON,
				       channel & 0x0F,
				       key & MIDI_DATA,
				       velocity & MIDI_DATA);
}

struct midi_ump midi1_note_off(uint8_t channel, uint8_t key, uint8_t velocity)
{
	return UMP_MIDI1_CHANNEL_VOICE(UMP_CHANNEL_GROUP,
				       UMP_MIDI_NOTE_OFF,
				       channel & 0x0F,
				       key & MIDI_DATA,
				       velocity & MIDI_DATA);
}

struct midi_ump midi1_controlchange(uint8_t channel,
				    uint8_t controller, uint8_t val)
{
	return UMP_MIDI1_CHANNEL_VOICE(UMP_CHANNEL_GROUP,
				       UMP_MIDI_CONTROL_CHANGE,
				       channel & 0x0F,
				       controller & MIDI_DATA,
				       val & MIDI_DATA);
}

/*
 * Channel aftertouch is not a control change!!! 
 */
struct midi_ump midi1_channelaftertouch(uint8_t channel, uint8_t val)
{
	return UMP_MIDI1_CHANNEL_VOICE(UMP_CHANNEL_GROUP,
				       UMP_MIDI_CHAN_AFTERTOUCH,
				       channel & 0x0F,
				       val & MIDI_DATA,
				       0);
}

/*
 * Even though most keybeds don't send it; a lot of synths
 * can respond to polyphonic aftertouch.
 */
struct midi_ump midi1_polyaftertouch(uint8_t channel, uint8_t key, uint8_t val)
{
	return UMP_MIDI1_CHANNEL_VOICE(UMP_CHANNEL_GROUP,
				       UMP_MIDI_AFTERTOUCH,
				       channel & 0x0F,
				       key & MIDI_DATA,
				       val & MIDI_DATA);
}

/**
 * Mod wheel has both MSB and LSB however I never come across
 * a vendor that implements both.
 */
struct midi_ump midi1_modwheel(uint8_t channel, uint8_t val)
{
	return midi1_controlchange(channel, CTL_MSB_MODWHEEL, val);
}

/**
 * 14  bit value.
 * The MIDI2.0 spec says the P1 should be LSB and P2 should be MSB.
 * when encapsulating MIDI1.0 into a UMP.
 */
struct midi_ump midi1_modwheellsb(uint8_t channel, uint8_t val)
{
	return midi1_controlchange(channel, CTL_LSB_MODWHEEL, val);
}

/**
 * 14 bit value 16384 = max, 8192 == dead centre. 0 is minimal. 
 * The MIDI2.0 spec says the P1 should be LSB and P2 should be MSB.
 * when encapsulating MIDI1.0 into a UMP.
 * no need to check the 'val' as we mask it. 
 */
struct midi_ump midi1_pitchwheel(uint8_t channel, uint16_t val)
{
	return UMP_MIDI1_CHANNEL_VOICE(UMP_CHANNEL_GROUP,
				       UMP_MIDI_PITCH_BEND,
				       channel & 0x0F,
				       val & MIDI_DATA,
				       (val >> 7) & MIDI_DATA);
}

/**
 * -- == System realtime messages == --
 */
/* Timing Clock */
struct midi_ump midi1_timing_clock(void)
{
	return UMP_SYS_RT_COMMON(UMP_CHANNEL_GROUP, RT_TIMING_CLOCK, 0, 0);
}

/* Start */
struct midi_ump midi1_start(void)
{
	return UMP_SYS_RT_COMMON(UMP_CHANNEL_GROUP, RT_START, 0, 0);
}

/* Continue */
struct midi_ump midi1_continue(void)
{
	return UMP_SYS_RT_COMMON(UMP_CHANNEL_GROUP, RT_CONTINUE, 0, 0);
}

/* Stop */
struct midi_ump midi1_stop(void)
{
	return UMP_SYS_RT_COMMON(UMP_CHANNEL_GROUP, RT_STOP, 0, 0);
}

/**
 * -- == System Common Messages == --
 */

/* Active Sensing */
struct midi_ump midi1_activesensing(void)
{
	return UMP_SYS_RT_COMMON(UMP_CHANNEL_GROUP, RT_ACTIVE_SENSING, 0, 0);
}

/* Reset */
struct midi_ump midi1_reset(void)
{
	return UMP_SYS_RT_COMMON(UMP_CHANNEL_GROUP, RT_RESET, 0, 0);
}

/*
 *------------------------------------------------------------------------------
 * MIDI tempo helpers.
 *
 * upscaled implementation (s)bpm given
 * 1.00 bpm is 100
 * 123.10 bpm is 123100 max 65535 == 655.35 bpm
 * period returned is in microseconds as a uint32_t
 * 0.003814755 3.814 ms --> 3814 us (655,35 bpm)
 * 2.500000000 s/(1/24 qn) --> 2500000 us
 * i.e. multiplied by 1000000
 * Done so we can run it on a ARM M0+ without a FPU and the need
 * to compile in single precision math.
 * By Jan-Willem Smaal <usenet@gispen.org> 20251214
 *
 * Because microseconds is a bit too course for timing some of these
 * calculations will be slightly off.
 *
 * It's better to use clock ticks.  so the spbm_to_ticks 
 */

uint32_t sbpm_to_us_interval(uint16_t sbpm)
{
	if (sbpm == 0) {
		return 0u;
	} else {
		uint64_t numer = (uint64_t) US_PER_SECOND * 60u * BPM_SCALE;
		//uint64_t res = (numer + (sbpm / 2u)) / (uint64_t) sbpm;
		// Removed rounding due to double rounding  
		uint64_t res = numer  / (uint64_t) sbpm;
		return (uint32_t) res;
	}
}


/* 
 * Formula:
 * ticks_per_pulse = (clock_hz * 60 * BPM_SCALE) / (24 * sbpm)
 *
 * BPM_SCALE = 100 (scaled BPM format)
 * 60 / 24 = 2.5 → multiply by 5, divide by 2
 *
 * keep everything in 64-bit to avoid overflow.
 */
uint32_t sbpm_to_ticks(uint16_t sbpm, uint32_t clock_hz)
{
	if (sbpm == 0 || clock_hz == 0) {
		return 0u;
	}

	
	const uint64_t numer = (uint64_t)clock_hz * 5ULL * 100ULL;
	const uint64_t denom = (uint64_t)sbpm * 2ULL;

	/* Rounded division */
	uint64_t ticks = (numer + (denom / 2ULL)) / denom;

	return (uint32_t)ticks;
}

uint16_t us_interval_to_sbpm(uint32_t interval)
{
	if (interval == 0) {
		return 0u;
	} else {
		uint64_t numer = (uint64_t) US_PER_SECOND * 60u * BPM_SCALE;
		uint64_t res = (numer + (interval / 2u)) / (uint64_t) interval;
		return (uint32_t) res;
	}
}

uint32_t us_interval_to_24pqn(uint32_t interval)
{
	if (interval == 0) {
		return 0u;
	} else {
		return (interval + 12u) / 24u;
	}
}

uint32_t pqn24_to_us_interval(uint32_t pqn24)
{
	if (pqn24 == 0) {
		return 0u;
	} else {
		return (pqn24 * 24u) + 12u;
	}
}

uint32_t sbpm_to_24pqn(uint16_t sbpm)
{
	if (sbpm == 0) {
		return 0u;
	} else {
		return us_interval_to_24pqn(sbpm_to_us_interval(sbpm));
	}
}

uint16_t pqn24_to_sbpm(uint32_t pqn24)
{
	if (pqn24 == 0u) {
		return 0u;
	}
	
	/* pqn24 = microseconds per tick
	 * quarter-note interval = pqn24 * 24
	 * SBPM = (60,000,000 * 100) / quarter-note interval
	 */
	uint32_t qn_interval_us = pqn24 * 24u;
	return us_interval_to_sbpm(qn_interval_us);
}


const char *sbpm_to_str(uint16_t sbpm)
{
	/* Enough for "12345.67" + null */
	static char buf[16];
	
	uint32_t whole = sbpm / 100u;   /* integer BPM */
	uint32_t frac  = sbpm % 100u;   /* fractional part */
	
	/* Format:  whole.frac  (e.g. 120.00) */
	snprintf(buf, sizeof(buf), "%03u.%02u", whole, frac);
	
	return buf;
}

/* -------------------------------------------------------------------------- */
/* EOF */
```

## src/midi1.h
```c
/**
 * @file midi1.h
 * @brief MIDI1 helpers
 *
 * @note Functions to create UMP packets and do calculations
 * on MIDI timings.   Also convert to frequency and from frequency
 * to note.
 *
 * Created in 2014 for ATMEL AVR MCU's ported
 * to Zephyr RTOS in 2024 mainly for ARM based MCU's. 
 * @author Jan-Willem Smaal <usenet@gispen.org>
 * updated 20241224
 * @date 20252810  -> for Zephyr use with USB.
 * license SPDX-License-Identifier: Apache-2.0
 */
#ifndef MIDI1_H
#define MIDI1_H
/*-----------------------------------------------------------------------*/
#include <stdint.h>
#include <string.h>
#include <zephyr/audio/midi.h>

/*-----------------------------------------------------------------------*/
/*  Defines specific for the MIDI protocol */
#define PITCHWHEEL_CENTER 8192

/* MIDI channel/mode masks */
#define CHANNEL_VOICE_MASK      0x80	//  Bit 7 == 1
#define CHANNEL_MODE_MASK       0xB0
#define SYSTEM_EXCLUSIVE_MASK   0xF0
#define SYSTEM_REALTIME_MASK    0XF8
#define SYSTEM_COMMON_MASK      0XF0
#define MIDI_DATA               0x7F	//  Bit 7 == 0

/* System messages */
enum midi_sysex {
	SYSTEM_EXCLUSIVE_START = 0xF0,
	SYSTEM_TUNE_REQUEST    = 0xF6,
	SYSTEM_EXCLUSIVE_END   = 0xF7
};
	
/* MIDI channel voice commands */
enum midi_channel_commands {
	C_NOTE_ON        	= 0x90,
	C_NOTE_OFF       	= 0x80,
	C_POLYPHONIC_AFTERTOUCH = 0xA0,
	C_CHANNEL_AFTERTOUCH   	= 0xD0,
	C_PITCH_WHEEL        	= 0xE0,
	C_CONTROL_CHANGE     	= 0xB0,
	C_PROGRAM_CHANGE     	= 0xC0
};

/* Channel mode messages defined here in decimals as the
 * spec also list them as such on page 20
 */
#define C_CHANNEL_MODE 0xB0
enum midi_channel_mode {
	C_MODE_ALL_SOUNDS_OFF 		= 120U,
	C_MODE_RESET_ALL_CONTROLLERS 	= 121U,
	C_MODE_LOCAL_CONTROl 		= 122U,
	C_MODE_ALL_NOTES_OFF		= 123U,
	C_MODE_OMNI_OFF			= 124U,
	C_MODE_OMNI_ON			= 125U,
	C_MODE_MONO_ON			= 126U,
	C_MODE_POLY_ON			= 127U
};


enum midi_channel {
	CH1 = 0x00,
	CH2 = 0x01,
	CH3 = 0x02,
	CH4 = 0x03,
	CH5 = 0x04,
	CH6 = 0x05,
	CH7 = 0x06,
	CH8 = 0x07,
	CH9 = 0x08,
	CH10 = 0x09,
	CH11 = 0x0A,
	CH12 = 0x0B,
	CH13 = 0x0C,
	CH14 = 0x0D,
	CH15 = 0x0E,
	CH16 = 0x0F
};

enum midi_control_change {
	CTL_MSB_BANK = 0x00,
	CTL_MSB_MODWHEEL = 0x01,
	CTL_MSB_BREATH = 0x02,
	CTL_MSB_FOOT = 0x04,
	CTL_MSB_PORTAMENTO_TIME = 0x05,
	CTL_MSB_DATA_ENTRY = 0x06,
	CTL_MSB_MAIN_VOLUME = 0x07,
	CTL_MSB_BALANCE = 0x08,
	CTL_MSB_PAN = 0x0A,
	CTL_MSB_EXPRESSION = 0x0B,
	CTL_MSB_EFFECT1 = 0x0C,
	CTL_MSB_EFFECT2 = 0x0D,
	CTL_MSB_GENERAL_PURPOSE1 = 0x10,
	CTL_MSB_GENERAL_PURPOSE2 = 0x11,
	CTL_MSB_GENERAL_PURPOSE3 = 0x12,
	CTL_MSB_GENERAL_PURPOSE4 = 0x13,
	CTL_LSB_BANK = 0x20,
	CTL_LSB_MODWHEEL = 0x21,
	CTL_LSB_BREATH = 0x22,
	CTL_LSB_FOOT = 0x24,
	CTL_LSB_PORTAMENTO_TIME = 0x25,
	CTL_LSB_DATA_ENTRY = 0x26,
	CTL_LSB_MAIN_VOLUME = 0x27,
	CTL_LSB_BALANCE = 0x28,
	CTL_LSB_PAN = 0x2A,
	CTL_LSB_EXPRESSION = 0x2B,
	CTL_LSB_EFFECT1 = 0x2C,
	CTL_LSB_EFFECT2 = 0x2D,
	CTL_LSB_GENERAL_PURPOSE1 = 0x30,
	CTL_LSB_GENERAL_PURPOSE2 = 0x31,
	CTL_LSB_GENERAL_PURPOSE3 = 0x32,
	CTL_LSB_GENERAL_PURPOSE4 = 0x33,
	CTL_SUSTAIN = 0x40,
	CTL_PORTAMENTO = 0x41,
	CTL_SOSTENUTO = 0x42,
	CTL_SOFT_PEDAL = 0x43,
	CTL_LEGATO_FOOTSWITCH = 0x44,
	CTL_HOLD2 = 0x45,
	CTL_SC1_SOUND_VARIATION = 0x46,
	CTL_SC2_TIMBRE = 0x47,
	CTL_SC3_RELEASE_TIME = 0x48,
	CTL_SC4_ATTACK_TIME = 0x49,
	CTL_SC5_BRIGHTNESS = 0x4A,
	CTL_SC6 = 0x4B,
	CTL_SC7 = 0x4C,
	CTL_SC8 = 0x4D,
	CTL_SC9 = 0x4E,
	CTL_SC10 = 0x4F,
	CTL_GENERAL_PURPOSE5 = 0x50,
	CTL_GENERAL_PURPOSE6 = 0x51,
	CTL_GENERAL_PURPOSE7 = 0x52,
	CTL_GENERAL_PURPOSE8 = 0x53,
	CTL_PORTAMENTO_CONTROL = 0x54,
	CTL_E1_REVERB_DEPTH = 0x5B,
	CTL_E2_TREMOLO_DEPTH = 0x5C,
	CTL_E3_CHORUS_DEPTH = 0x5D,
	CTL_E4_DETUNE_DEPTH = 0x5E,
	CTL_E5_PHASER_DEPTH = 0x5F,
	CTL_DATA_INCREMENT = 0x60,
	CTL_DATA_DECREMENT = 0x61,
	CTL_NRPN_LSB = 0x62,
	CTL_NRPN_MSB = 0x63,
	CTL_RPN_LSB = 0x64,
	CTL_RPN_MSB = 0x65,
	CTL_ALL_SOUNDS_OFF = 0x78,
	CTL_RESET_CONTROLLERS = 0x79,
	CTL_LOCAL_CONTROL_SWITCH = 0x7A,
	CTL_ALL_NOTES_OFF = 0x7B,
	CTL_OMNI_OFF = 0x7C,
	CTL_OMNI_ON = 0x7D,
	CTL_MONO1 = 0x7E,
	CTL_MONO2 = 0x7F
};

/* System Real Time commands */
enum midi_real_time {
	RT_TIMING_CLOCK       = 0xF8,
	RT_START              = 0xFA,
	RT_CONTINUE           = 0xFB,
	RT_STOP               = 0xFC,
	RT_ACTIVE_SENSING     = 0xFE,
	RT_RESET              = 0xFF
};
 
/*
 * TODO: Maybe change this later to be an extra argument to the
 * TODO: functions.  For now assume UMP channel group = 0.
 */
#define UMP_CHANNEL_GROUP 0


/**
 * -- == Channel messages == --
 */
/**
 * @brief create a MIDI1.0 UMP message for a NOTE_ON
 * @param channel MIDI channel 1 = 0 you may also use 'CH1', 'CH16' etc..
 * @param key MIDI key
 * @param velocity NOTE ON velocity
 * @return midi_ump universal MIDI1.0 packet
 */
struct midi_ump midi1_note_on(uint8_t channel, uint8_t key, uint8_t velocity);

/**
 * @brief create a MIDI1.0 UMP message for a NOTE_OFF
 * @param channel MIDI channel 1 = 0 you may also use 'CH1', 'CH16' etc..
 * @param key MIDI key
 * @param velocity NOTE OFF velocity
 * @return midi_ump universal MIDI1.0 packet
 */
struct midi_ump midi1_note_off(uint8_t channel, uint8_t key, uint8_t velocity);

/**
 * @brief create a MIDI1.0 UMP message for a CONTROL CHANGE
 * @param channel MIDI channel 1 = 0 you may also use 'CH1', 'CH16' etc..
 * @param controller MIDI controller number
 * @param val controller value
 * @return midi_ump universal MIDI1.0 packet
 */
struct midi_ump midi1_controlchange(uint8_t channel,
				    uint8_t controller, uint8_t val);

/**
 * @brief create a MIDI1.0 UMP message for a PITCH WHEEL
 * @param channel MIDI channel 1 = 0 you may also use 'CH1', 'CH16' etc..
 * @param val controller value as a 14 bit value.
 * @return midi_ump universal MIDI1.0 packet
 */
struct midi_ump midi1_pitchwheel(uint8_t channel, uint16_t val);

/**
 * @brief create a MIDI1.0 UMP message for a MODULATION WHEEL
 * @param channel MIDI channel 1 = 0 you may also use 'CH1', 'CH16' etc..
 * @param val controller value as a 14 bit value.
 * @return midi_ump universal MIDI1.0 packet
 */
struct midi_ump midi1_modwheel(uint8_t channel, uint8_t val);

/**
 * @brief create a MIDI1.0 UMP message for a POLYPHONIC AFTERTOUCH
 * @param channel MIDI channel 1 = 0 you may also use 'CH1', 'CH16' etc..
 * @param key MIDI key
 * @param val controller value as a 7 bit value.
 * @return midi_ump universal MIDI1.0 packet
 */
struct midi_ump midi1_polyaftertouch(uint8_t channel, uint8_t key, uint8_t val);

/**
 * @brief create a MIDI1.0 UMP message for a CHANNEL AFTERTOUCH
 * @param channel MIDI channel 1 = 0 you may also use 'CH1', 'CH16' etc..
 * @param val controller value as a 7 bit value.
 * @return midi_ump universal MIDI1.0 packet
 */
struct midi_ump midi1_channelaftertouch(uint8_t channel, uint8_t val);

/**
 * -- == System realtime messages == --
 */

/**
 * @brief create MIDI timing clock Universal MIDI packet (UMP)
 * @return midi_ump universal MIDI1.0 packet
 */
struct midi_ump midi1_timing_clock(void);

/**
 * @brief create MIDI realtime START Universal MIDI packet (UMP)
 * @return midi_ump universal MIDI1.0 packet
 */
struct midi_ump midi1_start(void);

/**
 * @brief create MIDI realtime CONTINUE Universal MIDI packet (UMP)
 * @return midi_ump universal MIDI1.0 packet
 */
struct midi_ump midi1_continue(void);

/**
 * @brief create MIDI realtime STOP Universal MIDI packet (UMP)
 * @return midi_ump universal MIDI1.0 packet
 */
struct midi_ump midi1_stop(void);

/**
 * @brief create MIDI realtime ACTIVE SENSING Universal MIDI packet (UMP)
 * @return midi_ump universal MIDI1.0 packet
 */
struct midi_ump midi1_active_sensing(void);

/**
 * @brief create MIDI realtime RESET Universal MIDI packet (UMP)
 * @return midi_ump universal MIDI1.0 packet
 */
struct midi_ump midi1_reset(void);


/*
 *------------------------------------------------------------------------------
 * MIDI tempo helpers.
 *
 * upscaled implementation (s)bpm given
 * 1.00 bpm is 100
 * 123.10 bpm is 123100 max 65535 == 655.35 bpm
 * period returned is in microseconds as a uint32_t
 * 0.003814755 3.814 ms --> 3814 us (655,35 bpm)
 * 2.500000000 s/(1/24 qn) --> 2500000 us
 * i.e. multiplied by 1000000
 * Done so we can run it on a ARM M0+ without a FPU and the need
 * to compile in single precision math.
 *
 */
#define BPM_SCALE      100u
#define US_PER_SECOND  1000000u

/**
 * @brief returns the interval in microseconds (us) for a given sbpm
 * @param  sbpm   Scaled BPM value (e.g. 12000 for 120.00 BPM)
 * @return interval in microseconds (us)
 */
uint32_t sbpm_to_us_interval(uint16_t sbpm);

/**
 * @brief returns the interval in clock ticks for a given sbpm
 * @param sbpm   Scaled BPM value (e.g. 12000 for 120.00 BPM)
 * @param clock_hz clock speed of the current processor
 * @return interval clock ticks
 */
uint32_t sbpm_to_ticks(uint16_t sbpm, uint32_t clock_hz);

/**
 * @brief Convert a measured interval in microseconds to scaled BPM (sbpm).
 *
 * @param interval  Interval duration in microseconds (us)
 * @return Scaled BPM value (e.g. 12000 for 120.00 BPM)
 */
uint16_t us_interval_to_sbpm(uint32_t interval);

/**
 * @brief Convert a measured interval in microseconds to 24‑PPQN period units.
 *
 * @param interval  Interval duration in microseconds (us)
 * @return 24‑PPQN period value corresponding to the interval
 */
uint32_t us_interval_to_24pqn(uint32_t interval);

/**
 * @brief Convert a 24‑PPQN period value to an interval in microseconds.
 *
 * @param pqn24  24‑PPQN period value
 * @return Interval duration in microseconds (us)
 */
uint32_t pqn24_to_us_interval(uint32_t pqn24);

/**
 * @brief Convert scaled BPM (sbpm) to a 24‑PPQN period value.
 *
 * @param sbpm  Scaled BPM value (e.g. 12000 for 120.00 BPM)
 * @return 24‑PPQN period value corresponding to the BPM
 */
uint32_t sbpm_to_24pqn(uint16_t sbpm);

/**
 * @brief convert pulses per quater note to scaled bpm
 *
 * @param 24‑PPQN period value
 * @return pqn24 pulses per quater note in us
 */
uint16_t pqn24_to_sbpm(uint32_t pqn24);

/**
 * @brief  Returns static string with the BPM formattted like 123.45
 *
 * @param  sbpm   Scaled BPM value (e.g. 12000 for 120.00 BPM)
 * @return Pointer to a static buffer containing the formatted string "xxx.yy"
 */
const char *sbpm_to_str(uint16_t sbpm);

/* -------------------------------------------------------------------------- */
#endif
/* EOF */
```

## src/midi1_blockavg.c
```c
/**
 * @file midi1_blockavg.c
 * @brief average the BPM measurement samples
 * @note used by the midi_clock_measure_counter.c and .h
 *
 * @author Jan-Willem Smaal <usenet@gispen.org>
 * @date 20260102
 * license SPDX-License-Identifier: Apache-2.0
 */
#include <stdint.h>
#include "midi1_blockavg.h"

/* Measurement buffer */
static uint32_t buf[MIDI1_BLOCKAVG_SIZE];
static uint32_t sum = 0;
static uint32_t index = 0;
static uint32_t count = 0;

void midi1_blockavg_init(void)
{
	/* Make sure the memory is empty when starting */
	for (uint32_t i = 0; i < MIDI1_BLOCKAVG_SIZE; i++) {
		buf[i] = 0;
	}
	sum = 0;
	index = 0;
	count = 0;
}

void midi1_blockavg_add(uint32_t sample)
{
	if (count < MIDI1_BLOCKAVG_SIZE) {
		/* Still filling the buffer */
		buf[count] = sample;
		sum += sample;
		count++;
	} else {
		/* Buffer full: overwrite oldest */
		sum -= buf[index];
		buf[index] = sample;
		sum += sample;

		index++;
		if (index >= MIDI1_BLOCKAVG_SIZE) {
			index = 0;
		}
	}
}

uint32_t midi1_blockavg_average(void)
{
	if (count == 0) {
		return 0;
	}
	return sum / count;
}

uint32_t midi1_blockavg_count(void)
{
	return count;
}

/* EOF */
```
